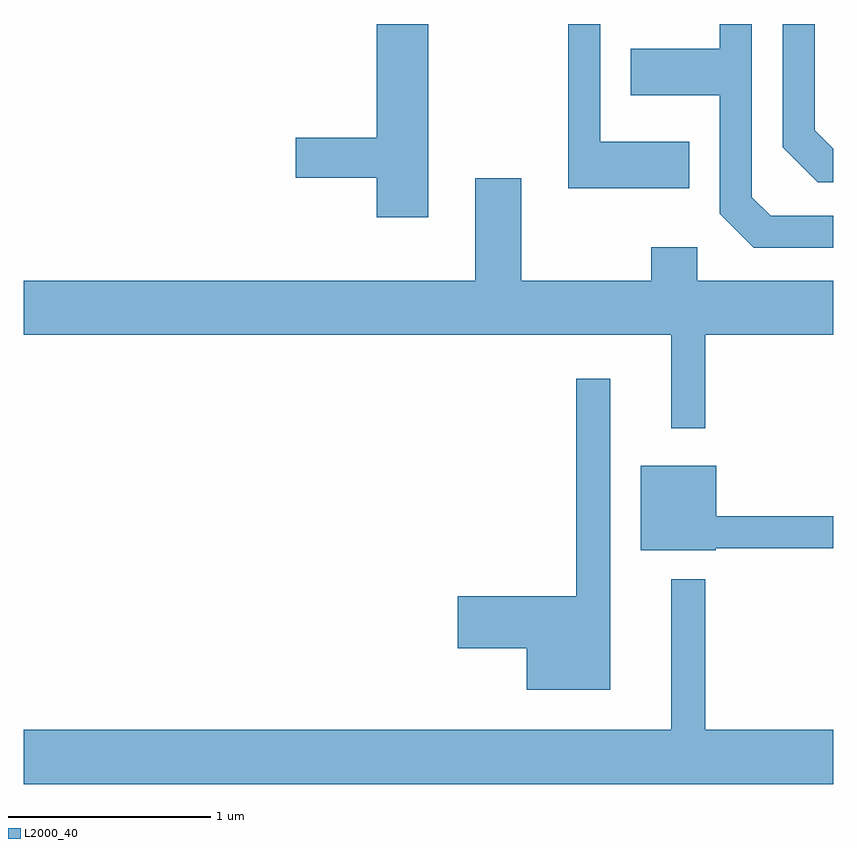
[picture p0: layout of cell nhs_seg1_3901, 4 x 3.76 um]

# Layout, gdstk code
import gdstk
lib = gdstk.Library(unit=1e-6, precision=1e-09)
def P(c, l, *ps):  # polygons
    for p in ps: c.add(gdstk.Polygon(p, *l))
L2000_40 = (2000, 40)

nhs_seg1_3901 = lib.new_cell('nhs_seg1_3901')
P(nhs_seg1_3901, L2000_40, [(304.899,967.129),(304.459,967.129),(304.459,967.712),(304.301,967.712),(304.301,966.901),(304.899,966.901)],
  [(303.609,967.712),(303.356,967.712),(303.356,967.149),(302.956,967.149),(302.956,966.951),(303.356,966.951),(303.356,966.756),(303.609,966.756)],
  [(305.611,966.764),(305.302,966.764),(305.209,966.857),(305.209,967.712),(305.051,967.712),(305.051,967.589),(304.611,967.589),(304.611,967.361),(305.051,967.361),(305.051,966.774),(305.219,966.606),(305.611,966.606)],
  [(305.611,967.095),(305.519,967.187),(305.519,967.712),(305.361,967.712),(305.361,967.104),(305.534,966.931),(305.611,966.931)],
  [(304.979,966.176),(305.611,966.176),(305.611,966.444),(304.939,966.444),(304.939,966.609),(304.711,966.609),(304.711,966.444),(304.069,966.444),(304.069,966.949),(303.841,966.949),(303.841,966.444),(301.611,966.444),(301.611,966.176),(304.811,966.176),(304.811,965.713),(304.979,965.713)],
  [(304.509,965.958),(304.341,965.958),(304.341,964.884),(303.756,964.884),(303.756,964.626),(304.096,964.626),(304.096,964.421),(304.509,964.421)],
  [(305.03,965.121),(305.611,965.121),(305.611,965.279),(305.034,965.279),(305.034,965.529),(304.661,965.529),(304.661,965.111),(305.03,965.111)],
  [(305.611,964.224),(304.979,964.224),(304.979,964.968),(304.811,964.968),(304.811,964.224),(301.611,964.224),(301.611,963.956),(305.611,963.956)])

lib.write_gds('nhs_seg1_3901.gds')
